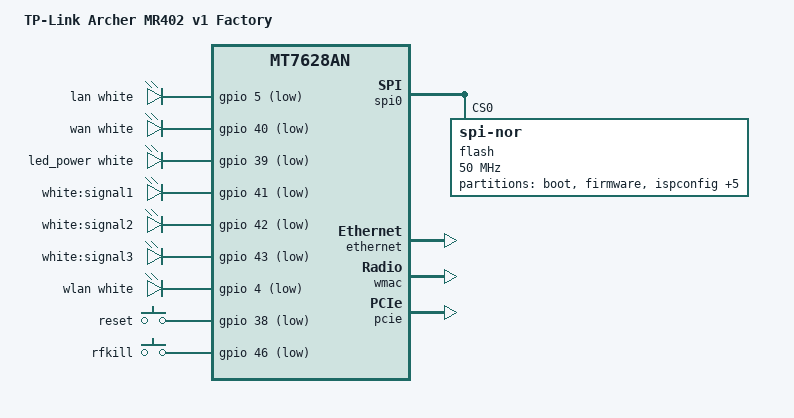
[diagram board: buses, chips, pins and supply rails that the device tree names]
// SPDX-License-Identifier: GPL-2.0-or-later OR MIT

#include "mt7628an.dtsi"

#include <dt-bindings/input/input.h>
#include <dt-bindings/gpio/gpio.h>
#include <dt-bindings/leds/common.h>

/ {
        compatible = "tplink,archer-mr402-v1-factory", "mediatek,mt7628an-soc";
        model = "TP-Link Archer MR402 v1 Factory";

        aliases {
                led-boot = &led_power;
                led-failsafe = &led_power;
                led-running = &led_power;
                led-upgrade = &led_power;
                label-mac-device = &ethernet;
        };

        chosen {
                bootargs = "console=ttyS0,115200";
        };

        leds {
                compatible = "gpio-leds";

                lan {
                        function = LED_FUNCTION_LAN;
                        color = <LED_COLOR_ID_WHITE>;
                        gpios = <&gpio 5 GPIO_ACTIVE_LOW>;
                };

                wan {
                        function = LED_FUNCTION_WAN;
                        color = <LED_COLOR_ID_WHITE>;
                        gpios = <&gpio 40 GPIO_ACTIVE_LOW>;
                };

                led_power: power {
                        function = LED_FUNCTION_POWER;
                        color = <LED_COLOR_ID_WHITE>;
                        gpios = <&gpio 39 GPIO_ACTIVE_LOW>;
                };

                signal1 {
                        label = "white:signal1";
                        gpios = <&gpio 41 GPIO_ACTIVE_LOW>;
                };

                signal2 {
                        label = "white:signal2";
                        gpios = <&gpio 42 GPIO_ACTIVE_LOW>;
                };

                signal3 {
                        label = "white:signal3";
                        gpios = <&gpio 43 GPIO_ACTIVE_LOW>;
                };

                wlan {
                        function = LED_FUNCTION_WLAN;
                        color = <LED_COLOR_ID_WHITE>;
                        gpios = <&gpio 4 GPIO_ACTIVE_LOW>;
                        linux,default-trigger = "phy0tpt";
                };
        };

        keys {
                compatible = "gpio-keys";

                reset {
                        label = "reset";
                        gpios = <&gpio 38 GPIO_ACTIVE_LOW>;
                        linux,code = <KEY_RESTART>;
                };

                rfkill {
                        label = "rfkill";
                        gpios = <&gpio 46 GPIO_ACTIVE_LOW>;
                        linux,code = <KEY_RFKILL>;
                };
        };
};

&spi0 {
        status = "okay";

        flash@0 {
                compatible = "jedec,spi-nor";
                reg = <0>;
                spi-max-frequency = <50000000>;
                m25p,fast-read;
                #address-cells = <1>;
                #size-cells = <1>;

			 partitions {
                        compatible = "fixed-partitions";
                        #address-cells = <1>;
                        #size-cells = <1>;

                        partition@0 {
                                label = "boot";
                                reg = <0x00000000 0x00020000>;
                                read-only;
                        };

                        partition@20000 {
                                compatible = "tplink,firmware";
                                label = "firmware";
                                reg = <0x00020000 0x00c90000>;
                        };

                        partition@cb0000 {
                                label = "ispconfig";
                                reg = <0x00cb0000 0x00010000>;
                                read-only;
                        };

                        partition@cc0000 {
                                label = "config";
                                reg = <0x00cc0000 0x00010000>;
                                read-only;
                        };

                        partition@cd0000 {
                                label = "configbak";
                                reg = <0x00cd0000 0x00010000>;
                                read-only;
                        };

                        partition@ce0000 {
                                label = "romfile";
                                reg = <0x00ce0000 0x00010000>;
                                read-only;

                                nvmem-layout {
                                        compatible = "fixed-layout";
                                        #address-cells = <1>;
                                        #size-cells = <1>;

                                        macaddr_romfile_f100: macaddr@f100 {
                                                reg = <0xf100 0x6>;
                                        };
                                };
                        };

                        partition@cf0000 {
                                label = "radio";
                                reg = <0x00cf0000 0x00010000>;
                                read-only;

                                nvmem-layout {
                                        compatible = "fixed-layout";
                                        #address-cells = <1>;
                                        #size-cells = <1>;

                                        eeprom_radio_0: eeprom@0 {
                                                reg = <0x0 0x400>;
                                        };

                                        eeprom_radio_8000: eeprom@8000 {
                                                reg = <0x8000 0x4da8>;
                                        };
                                };
                        };

                        partition@d00000 {
                                label = "userdata";
                                reg = <0x00d00000 0x00300000>;
                        };
                };
        };
};
&state_default {
        gpio {
                groups = "i2c", "p0led_an", "p1led_an", "p2led_an", "p3led_an", "p4led_an", "uart1", "wdt";
                function = "gpio";
        };
};

&ethernet {
        nvmem-cells = <&macaddr_romfile_f100>;
        nvmem-cell-names = "mac-address";
        status = "okay";
};

&wmac {
        nvmem-cells = <&eeprom_radio_0>;
        nvmem-cell-names = "eeprom";
        status = "okay";
};

&esw {
        mediatek,portdisable = <0x30>;
};

&pcie {
        status = "okay";
};

&pcie0 {
        wifi@0,0 {
                reg = <0x0000 0 0 0 0>;
                nvmem-cells = <&eeprom_radio_8000>;
                nvmem-cell-names = "eeprom";
        };
};
